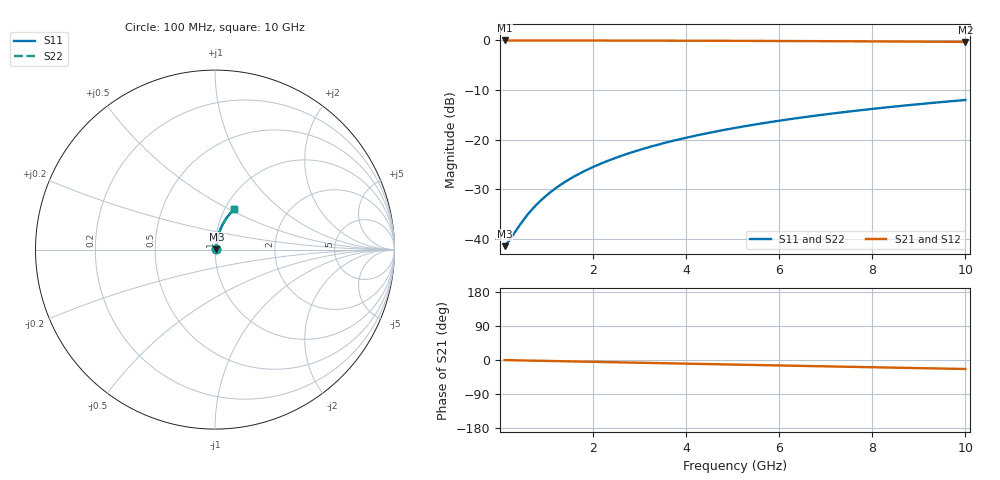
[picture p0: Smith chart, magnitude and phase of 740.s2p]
# Hz S RI R 50.00
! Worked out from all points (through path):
!   100 points, 100 MHz to 10 GHz, reference 50 ohm
!   highest |S21| = -0.07 dB at 100 MHz (marker M1); lowest = -0.4 dB at 10 GHz (marker M2)
!   group delay of S21, straight-line fit = 6.6 ps
!   lowest |S11| = -41.4 dB at 100 MHz (marker M3), VSWR 1.02, Z = 50.8 + j0.263 ohm
!   |S11| at or under -10 dB: start of sweep to end of sweep
!   |S22| runs from -41.4 to -12.0 dB; largest |S21 - S12| = 0
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1e8  0.0081 0.00259  0.9919 -0.00419  0.9919 -0.00419  0.0081 0.00259
2e8  0.00818 0.00518  0.9918 -0.00837  0.9918 -0.00837  0.00818 0.00518
4e8  0.00838 0.0104  0.9916 -0.0167  0.9916 -0.0167  0.00838 0.0104
5e8  0.00851 0.0129  0.9915 -0.0209  0.9915 -0.0209  0.00851 0.0129
6e8  0.00865 0.0155  0.9913 -0.0251  0.9913 -0.0251  0.00865 0.0155
7e8  0.00882 0.0181  0.9911 -0.0293  0.9911 -0.0293  0.00882 0.0181
9e8  0.0092 0.0233  0.9907 -0.0376  0.9907 -0.0376  0.0092 0.0233
1.1e9  0.00967 0.0284  0.9902 -0.046  0.9902 -0.046  0.00967 0.0284
1.3e9  0.0102 0.0336  0.9895 -0.0543  0.9895 -0.0543  0.0102 0.0336
1.5e9  0.0109 0.0387  0.9888 -0.0626  0.9888 -0.0626  0.0109 0.0387
1.8e9  0.012 0.0464  0.9876 -0.0751  0.9876 -0.0751  0.012 0.0464
2.1e9  0.0133 0.054  0.9861 -0.0875  0.9861 -0.0875  0.0133 0.054
2.5e9  0.0153 0.0641  0.9839 -0.104  0.9839 -0.104  0.0153 0.0641
2.9e9  0.0177 0.0742  0.9812 -0.1205  0.9812 -0.1205  0.0177 0.0742
3.4e9  0.0211 0.0866  0.9774 -0.1409  0.9774 -0.1409  0.0211 0.0866
4.2e9  0.0276 0.106  0.9701 -0.1731  0.9701 -0.1731  0.0276 0.106
5.1e9  0.0364 0.1272  0.9602 -0.2088  0.9602 -0.2088  0.0364 0.1272
5.9e9  0.0455 0.1454  0.9499 -0.2398  0.9499 -0.2398  0.0455 0.1454
6.7e9  0.0558 0.1628  0.9383 -0.2701  0.9383 -0.2701  0.0558 0.1628
7.5e9  0.0671 0.1795  0.9255 -0.2996  0.9255 -0.2996  0.0671 0.1795
8.4e9  0.081 0.1971  0.9098 -0.3318  0.9098 -0.3318  0.081 0.1971
1e10  0.1084 0.2255  0.8785 -0.3861  0.8785 -0.3861  0.1084 0.2255
